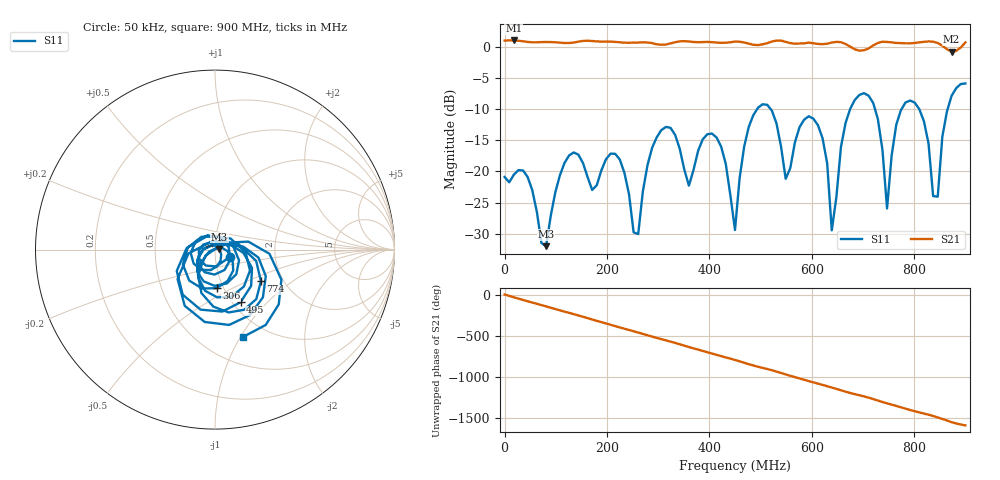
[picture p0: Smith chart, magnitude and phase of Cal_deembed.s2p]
# HZ S RI R 50
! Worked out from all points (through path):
!   101 points, 50 kHz to 900 MHz, reference 50 ohm
!   highest |S21| = 1.09 dB at 18.05 MHz (marker M1); lowest = -0.7 dB at 873 MHz (marker M2)
!   group delay of S21, straight-line fit = 4.9 ns
!   lowest |S11| = -32.0 dB at 81.05 MHz (marker M3), VSWR 1.05, Z = 52.6 + j0.295 ohm
!   |S11| at or under -10 dB: start of sweep to 493 MHz; 520.1 MHz to 674.7 MHz (154.6 MHz wide, 25.9 % of centre); 723.6 MHz to 775.1 MHz (51.49 MHz wide, 6.87 % of centre) (the widest 3 of 4)
!   S12 and S22 are empty: the file has one direction only
!   S11 on the Smith chart (normalised r, x): 50 kHz: 1.17, -0.09; 306 MHz: 0.93, -0.42; 495 MHz: 1.09, -0.71; 774 MHz: 1.54, -0.60; 900 MHz: 0.78, -1.03
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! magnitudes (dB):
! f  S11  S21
! 50 kHz  -20.9  1.1
! 18.05 MHz  -20.5  1.1
! 81.05 MHz  -32.0  0.8
! 153 MHz  -18.6  1.0
! 225 MHz  -18.1  0.8
! 261 MHz  -30.1  0.8
! 306 MHz  -13.3  0.4
! 360 MHz  -22.3  0.9
! 414 MHz  -14.5  0.8
! 450 MHz  -29.4  0.9
! 495 MHz  -9.7  0.3
! 549 MHz  -21.2  0.9
! 603 MHz  -11.5  0.6
! 639 MHz  -29.5  0.8
! 684 MHz  -8.5  -0.3
! 720 MHz  -9.0  0.3
! 747 MHz  -26.0  0.9
! 756 MHz  -17.4  0.8
! 774 MHz  -10.1  0.7
! 846 MHz  -24.0  0.7
! 873 MHz  -7.8  -0.7
! 900 MHz  -5.8  0.8
